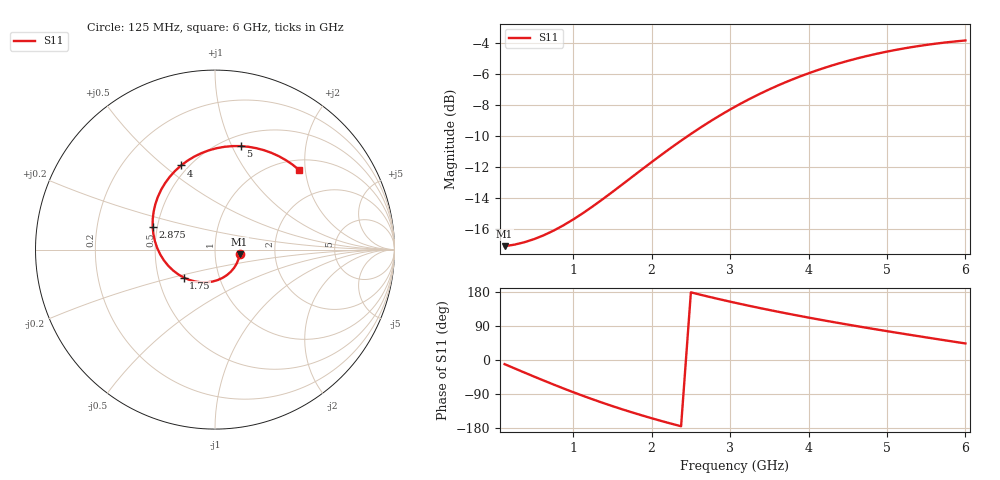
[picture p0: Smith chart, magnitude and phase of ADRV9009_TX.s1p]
! Created Mon Mar 30 08:32:10 2015.
! TX Port Z Model. Valid for TX1 and TX2.
! Format : SEDZ : Series Equivalent Differential Z
! Built from Die Layout Post Extraction & EM based Laminate "S"
! Model.
! Port 1 : Differential : Across + & - Output Ports : Board Ball Pad Reference Plane.
# hz S ma R 50
! 1 Port Network Data from SP1.SP block
! freq  magS11  angS11
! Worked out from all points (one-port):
!   48 points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, 125 MHz to 6 GHz, reference 50 ohm
!   lowest |S11| = -17.1 dB at 125 MHz (marker M1), VSWR 1.32, Z = 65.8 - j3.56 ohm
!   |S11| at or under -10 dB: start of sweep to 2.456 GHz
!   S11 on the Smith chart (normalised r, x): 125 MHz: 1.32, -0.07; 1.75 GHz: 0.67, -0.22; 2.875 GHz: 0.47, +0.14; 4 GHz: 0.46, +0.57; 5 GHz: 0.61, +1.08; 6 GHz: 1.21, +1.85
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1.25e8  0.1397 -11.0
2.5e8  0.1413 -21.9
5e8  0.1472 -43.7
8.75e8  0.1631 -75.0
1.125e9  0.1787 -94.6
1.25e9  0.1879 -103.9
1.5e9  0.2091 -121.7
1.625e9  0.221 -130.1
1.75e9  0.2337 -138.3
2e9  0.2611 -153.7
2.375e9  0.3062 -174.9
2.625e9  0.3378 172.1
2.875e9  0.37 159.9
3.125e9  0.402 148.3
3.25e9  0.4178 142.7
3.5e9  0.4485 132.0
3.625e9  0.4634 126.8
3.875e9  0.4919 116.8
4e9  0.5054 111.9
4.25e9  0.5309 102.5
4.375e9  0.5429 98.0
4.625e9  0.565 89.0
4.75e9  0.5753 84.7
5e9  0.5939 76.2
5.125e9  0.6023 72.0
5.375e9  0.6175 63.7
5.625e9  0.6303 55.6
6e9  0.6453 43.7
